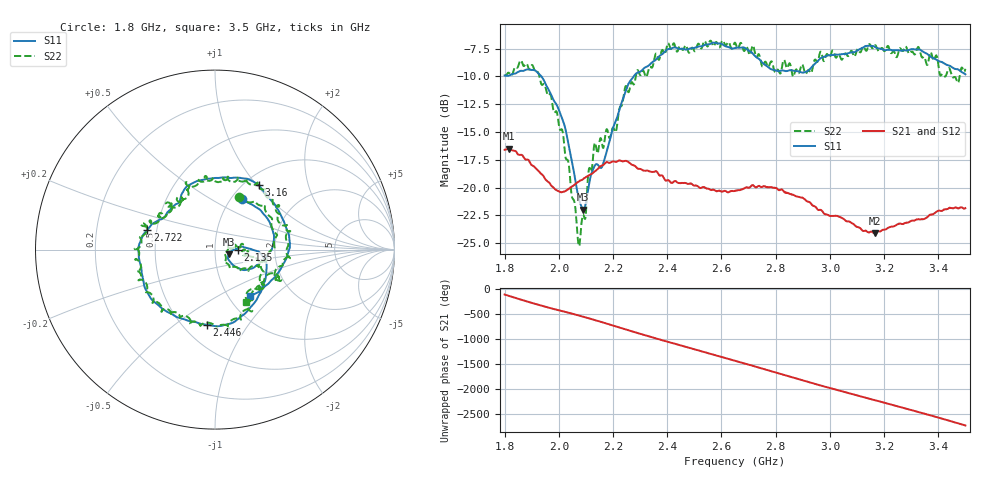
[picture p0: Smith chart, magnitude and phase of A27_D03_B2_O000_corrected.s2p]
! Created with skrf 1.9.0 (http://scikit-rf.org).
# Hz S RI R 50.0
!freq ReS11 ImS11 ReS21 ImS21 ReS12 ImS12 ReS22 ImS22
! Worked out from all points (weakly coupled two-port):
!   1601 points, 1.8 GHz to 3.5 GHz, reference 50 ohm
!   highest |S21| = -16.51 dB at 1.816 GHz (marker M1); lowest = -24.1 dB at 3.165 GHz (marker M2)
!   lowest |S11| = -22.0 dB at 2.09 GHz (marker M3), VSWR 1.17, Z = 58.1 - j3 ohm
!   |S11| at or under -10 dB: 1.936 GHz to 2.276 GHz (340.1 MHz wide, 16.1 % of centre)
!   |S22| runs from -25.3 to -6.8 dB; largest |S21 - S12| = 0.0026
!   S11 on the Smith chart (normalised r, x): 1.8 GHz: 1.12, +0.70; 2.135 GHz: 1.29, -0.01; 2.446 GHz: 0.65, -0.66; 2.722 GHz: 0.44, +0.11; 3.16 GHz: 1.16, +1.02; 3.5 GHz: 1.26, -0.72
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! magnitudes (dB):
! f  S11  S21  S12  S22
! 1.8 GHz  -9.9  -16.6  -16.6  -9.9
! 1.816 GHz  -9.9  -16.5  -16.5  -9.7
! 1.903 GHz  -9.4  -18.0  -18.0  -9.0
! 1.968 GHz  -11.5  -19.7  -19.7  -11.6
! 2.015 GHz  -13.9  -20.4  -20.4  -15.0
! 2.072 GHz  -20.8  -19.5  -19.5  -25.1
! 2.084 GHz  -21.7  -19.3  -19.3  -23.2
! 2.09 GHz  -22.0  -19.2  -19.3  -22.5
! 2.135 GHz  -18.0  -18.5  -18.5  -16.0
! 2.163 GHz  -17.9  -18.0  -17.9  -16.4
! 2.26 GHz  -10.5  -17.8  -17.8  -11.3
! 2.367 GHz  -8.3  -18.8  -18.7  -8.5
! 2.446 GHz  -7.5  -19.6  -19.6  -7.3
! 2.65 GHz  -7.4  -20.3  -20.3  -7.0
! 2.722 GHz  -8.1  -19.9  -19.8  -7.7
! 2.803 GHz  -9.5  -20.1  -20.1  -9.5
! 2.934 GHz  -9.1  -21.6  -21.5  -9.5
! 3.16 GHz  -7.3  -24.1  -24.0  -7.4
! 3.165 GHz  -7.3  -24.1  -24.1  -7.2
! 3.217 GHz  -7.6  -23.6  -23.6  -7.4
! 3.468 GHz  -9.3  -21.8  -21.8  -10.4
! 3.5 GHz  -9.8  -21.9  -21.8  -9.3
